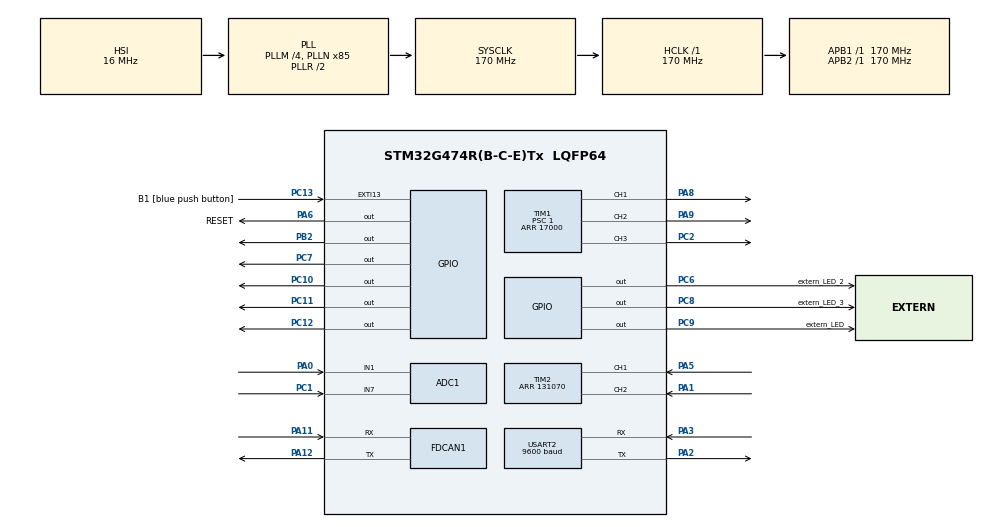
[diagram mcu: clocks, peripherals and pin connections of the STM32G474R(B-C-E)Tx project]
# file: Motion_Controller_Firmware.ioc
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ADC1.Channel-0\#ChannelRegularConversion=ADC_CHANNEL_1
ADC1.Channel-1\#ChannelRegularConversion=ADC_CHANNEL_7
ADC1.ClockPrescaler=ADC_CLOCK_ASYNC_DIV4
ADC1.ContinuousConvMode=DISABLE
ADC1.DMAContinuousRequests=DISABLE
ADC1.EOCSelection=ADC_EOC_SEQ_CONV
ADC1.ExternalTrigConv=ADC_EXTERNALTRIG_T1_CC1
ADC1.ExternalTrigConvEdge=ADC_EXTERNALTRIGCONVEDGE_FALLING
ADC1.NbrOfConversion=2
ADC1.NbrOfConversionFlag=1
ADC1.OffsetNumber-0\#ChannelRegularConversion=ADC_OFFSET_NONE
ADC1.OffsetNumber-1\#ChannelRegularConversion=ADC_OFFSET_NONE
ADC1.Rank-0\#ChannelRegularConversion=1
ADC1.Rank-1\#ChannelRegularConversion=2
ADC1.SamplingTime-0\#ChannelRegularConversion=ADC_SAMPLETIME_2CYCLES_5
ADC1.SamplingTime-1\#ChannelRegularConversion=ADC_SAMPLETIME_2CYCLES_5
ADC1.master=1
Dma.ADC1.2.Direction=DMA_PERIPH_TO_MEMORY
Dma.ADC1.2.EventEnable=DISABLE
Dma.ADC1.2.Instance=DMA1_Channel1
Dma.ADC1.2.MemDataAlignment=DMA_MDATAALIGN_HALFWORD
Dma.ADC1.2.MemInc=DMA_MINC_ENABLE
Dma.ADC1.2.Mode=DMA_CIRCULAR
Dma.ADC1.2.PeriphDataAlignment=DMA_PDATAALIGN_HALFWORD
Dma.ADC1.2.PeriphInc=DMA_PINC_DISABLE
Dma.ADC1.2.Polarity=HAL_DMAMUX_REQ_GEN_RISING
Dma.ADC1.2.Priority=DMA_PRIORITY_LOW
Dma.ADC1.2.RequestNumber=1
Dma.ADC1.2.SignalID=NONE
Dma.ADC1.2.SyncEnable=DISABLE
Dma.ADC1.2.SyncPolarity=HAL_DMAMUX_SYNC_NO_EVENT
Dma.ADC1.2.SyncRequestNumber=1
Dma.ADC1.2.SyncSignalID=NONE
Dma.Request0=USART2_RX
Dma.Request1=USART2_TX
Dma.Request2=ADC1
Dma.USART2_RX.0.Direction=DMA_PERIPH_TO_MEMORY
Dma.USART2_RX.0.EventEnable=DISABLE
Dma.USART2_RX.0.Instance=DMA1_Channel5
Dma.USART2_RX.0.MemDataAlignment=DMA_MDATAALIGN_BYTE
Dma.USART2_RX.0.MemInc=DMA_MINC_ENABLE
Dma.USART2_RX.0.Mode=DMA_NORMAL
Dma.USART2_RX.0.PeriphDataAlignment=DMA_PDATAALIGN_BYTE
Dma.USART2_RX.0.PeriphInc=DMA_PINC_DISABLE
Dma.USART2_RX.0.Polarity=HAL_DMAMUX_REQ_GEN_RISING
Dma.USART2_RX.0.Priority=DMA_PRIORITY_LOW
Dma.USART2_RX.0.RequestNumber=1
Dma.USART2_RX.0.SignalID=NONE
Dma.USART2_RX.0.SyncEnable=DISABLE
Dma.USART2_RX.0.SyncPolarity=HAL_DMAMUX_SYNC_NO_EVENT
Dma.USART2_RX.0.SyncRequestNumber=1
Dma.USART2_RX.0.SyncSignalID=NONE
Dma.USART2_TX.1.Direction=DMA_MEMORY_TO_PERIPH
Dma.USART2_TX.1.EventEnable=DISABLE
Dma.USART2_TX.1.Instance=DMA1_Channel2
Dma.USART2_TX.1.MemDataAlignment=DMA_MDATAALIGN_BYTE
Dma.USART2_TX.1.MemInc=DMA_MINC_ENABLE
Dma.USART2_TX.1.Mode=DMA_NORMAL
Dma.USART2_TX.1.PeriphDataAlignment=DMA_PDATAALIGN_BYTE
Dma.USART2_TX.1.PeriphInc=DMA_PINC_DISABLE
Dma.USART2_TX.1.Polarity=HAL_DMAMUX_REQ_GEN_RISING
Dma.USART2_TX.1.Priority=DMA_PRIORITY_LOW
Dma.USART2_TX.1.RequestNumber=1
Dma.USART2_TX.1.SignalID=NONE
Dma.USART2_TX.1.SyncEnable=DISABLE
Dma.USART2_TX.1.SyncPolarity=HAL_DMAMUX_SYNC_NO_EVENT
Dma.USART2_TX.1.SyncRequestNumber=1
Dma.USART2_TX.1.SyncSignalID=NONE
FDCAN1.AutoRetransmission=ENABLE
FDCAN1.CalculateBaudRateNominal=500000
FDCAN1.CalculateTimeBitNominal=2000
FDCAN1.CalculateTimeQuantumNominal=100.0
FDCAN1.DataPrescaler=17
FDCAN1.DataSyncJumpWidth=9
FDCAN1.DataTimeSeg1=10
FDCAN1.DataTimeSeg2=9
FDCAN1.FrameFormat=FDCAN_FRAME_FD_NO_BRS
FDCAN1.Mode=FDCAN_MODE_EXTERNAL_LOOPBACK
FDCAN1.NominalPrescaler=17
FDCAN1.NominalSyncJumpWidth=3
FDCAN1.NominalTimeSeg1=16
FDCAN1.NominalTimeSeg2=3
FREERTOS.Tasks01=highPrioTask,16,256,startHighPrioTask,Default,NULL,Dynamic,NULL,NULL;lowPrioTask,16,256,startLowPrioTask,Default,NULL,Dynamic,NULL,NULL;myCANTask,16,256,startMyCANTask,Default,NULL,Dynamic,NULL,NULL
FREERTOS.configGENERATE_RUN_TIME_STATS=1
FREERTOS.configMINIMAL_STACK_SIZE=128
FREERTOS.configTOTAL_HEAP_SIZE=10000
FREERTOS.configUSE_NEWLIB_REENTRANT=1
FREERTOS.configUSE_STATS_FORMATTING_FUNCTIONS=0
Mcu.Family=STM32G4
Mcu.Name=STM32G474R(B-C-E)Tx
Mcu.Package=LQFP64
NVIC.DMA1_Channel1_IRQn=true\:5\:0\:true\:false\:true\:true\:true\:true\:true
NVIC.DMA1_Channel2_IRQn=true\:5\:0\:true\:false\:true\:true\:true\:true\:true
NVIC.DMA1_Channel5_IRQn=true\:5\:0\:true\:false\:true\:true\:true\:true\:true
NVIC.EXTI15_10_IRQn=true\:5\:0\:true\:false\:true\:true\:true\:true\:true
NVIC.FDCAN1_IT0_IRQn=true\:5\:0\:true\:false\:true\:true\:true\:true\:true
NVIC.PriorityGroup=NVIC_PRIORITYGROUP_4
NVIC.TIM1_TRG_COM_TIM17_IRQn=true\:5\:0\:true\:false\:true\:true\:true\:true\:true
NVIC.TIM3_IRQn=true\:5\:0\:true\:false\:true\:true\:true\:true\:true
NVIC.TIM6_DAC_IRQn=true\:15\:0\:true\:false\:true\:false\:false\:true\:true
NVIC.TimeBase=TIM6_DAC_IRQn
NVIC.TimeBaseIP=TIM6
NVIC.USART2_IRQn=true\:6\:0\:true\:false\:true\:true\:true\:true\:true
PA0.Mode=IN1-Single-Ended
PA0.Signal=ADC1_IN1
PA1.GPIO_PuPd=GPIO_NOPULL
PA1.GPIO_Speed=GPIO_SPEED_FREQ_HIGH
PA1.Signal=S_TIM2_CH2
PA11.Mode=FDCAN_Activate
PA11.Signal=FDCAN1_RX
PA12.GPIO_PuPd=GPIO_NOPULL
PA12.GPIO_Speed=GPIO_SPEED_FREQ_LOW
PA12.Mode=FDCAN_Activate
PA12.Signal=FDCAN1_TX
PA2.GPIO_PuPd=GPIO_NOPULL
PA2.Mode=Asynchronous
PA2.Signal=USART2_TX
PA3.GPIO_PuPd=GPIO_NOPULL
PA3.Mode=Asynchronous
PA3.Signal=USART2_RX
PA5.GPIO_PuPd=GPIO_NOPULL
PA5.GPIO_Speed=GPIO_SPEED_FREQ_HIGH
PA5.Signal=S_TIM2_CH1
PA6.GPIO_Label=RESET
PA6.Signal=GPIO_Output
PA8.GPIO_Speed=GPIO_SPEED_FREQ_LOW
PA8.Signal=S_TIM1_CH1
PA9.GPIO_Speed=GPIO_SPEED_FREQ_LOW
PA9.Signal=S_TIM1_CH2
PB2.Signal=GPIO_Output
PC1.Mode=IN7-Single-Ended
PC1.Signal=ADC1_IN7
PC10.Signal=GPIO_Output
PC11.Signal=GPIO_Output
PC12.Signal=GPIO_Output
PC13.GPIO_Label=B1 [blue push button]
PC13.Signal=GPXTI13
PC14-OSC32_IN.Mode=LSE-External-Oscillator
PC14-OSC32_IN.Signal=RCC_OSC32_IN
PC15-OSC32_OUT.Mode=LSE-External-Oscillator
PC15-OSC32_OUT.Signal=RCC_OSC32_OUT
PC2.Signal=S_TIM1_CH3
PC6.GPIO_Label=extern_LED_2
PC6.GPIO_Speed=GPIO_SPEED_FREQ_VERY_HIGH
PC6.Signal=GPIO_Output
PC7.Signal=GPIO_Output
PC8.GPIO_Label=extern_LED_3
PC8.GPIO_Speed=GPIO_SPEED_FREQ_VERY_HIGH
PC8.Signal=GPIO_Output
PC9.GPIO_Label=extern_LED
PC9.GPIO_Speed=GPIO_SPEED_FREQ_VERY_HIGH
PC9.Signal=GPIO_Output
PF0-OSC_IN.Mode=HSE-External-Oscillator
PF0-OSC_IN.Signal=RCC_OSC_IN
PF1-OSC_OUT.Mode=HSE-External-Oscillator
PF1-OSC_OUT.Signal=RCC_OSC_OUT
ProjectManager.HeapSize=0x200
ProjectManager.StackSize=0x400
ProjectManager.TargetToolchain=STM32CubeIDE
RCC.ADC12Freq_Value=170000000
RCC.ADC345Freq_Value=170000000
RCC.AHBFreq_Value=170000000
RCC.APB1Freq_Value=170000000
RCC.APB1TimFreq_Value=170000000
RCC.APB2Freq_Value=170000000
RCC.APB2TimFreq_Value=170000000
RCC.CortexFreq_Value=170000000
RCC.EXTERNAL_CLOCK_VALUE=12288000
RCC.HCLKFreq_Value=170000000
RCC.HSE_VALUE=24000000
RCC.HSI48_VALUE=48000000
RCC.HSI_VALUE=16000000
RCC.PLLM=RCC_PLLM_DIV4
RCC.PLLN=85
RCC.PLLQ=RCC_PLLQ_DIV4
RCC.RTCClockSelection=RCC_RTCCLKSOURCE_LSE
RCC.SYSCLKFreq_VALUE=170000000
RCC.SYSCLKSource=RCC_SYSCLKSOURCE_PLLCLK
RCC.USBFreq_Value=85000000
RCC.VCOOutputFreq_Value=340000000
SH.S_TIM1_CH1.0=TIM1_CH1,PWM Generation1 CH1
SH.S_TIM1_CH2.0=TIM1_CH2,PWM Generation2 CH2
SH.S_TIM1_CH3.0=TIM1_CH3,PWM Generation3 CH3
SH.S_TIM2_CH1.0=TIM2_CH1,Encoder_Interface
SH.S_TIM2_CH2.0=TIM2_CH2,Encoder_Interface
TIM1.AutoReloadPreload=TIM_AUTORELOAD_PRELOAD_DISABLE
TIM1.Channel-PWM\ Generation1\ CH1=TIM_CHANNEL_1
TIM1.Channel-PWM\ Generation2\ CH2=TIM_CHANNEL_2
TIM1.Channel-PWM\ Generation3\ CH3=TIM_CHANNEL_3
TIM1.CounterMode=TIM_COUNTERMODE_DOWN
TIM1.OCIdleState_1=TIM_OCIDLESTATE_RESET
TIM1.OCIdleState_2=TIM_OCIDLESTATE_RESET
TIM1.OCIdleState_3=TIM_OCIDLESTATE_RESET
TIM1.OCPolarity_1=TIM_OCPOLARITY_HIGH
TIM1.OCPolarity_2=TIM_OCPOLARITY_HIGH
TIM1.OCPolarity_3=TIM_OCPOLARITY_HIGH
TIM1.PeriodNoDither=17000
TIM1.Prescaler=1
TIM1.PulseNoDither_1=0
TIM1.PulseNoDither_2=0
TIM1.PulseNoDither_3=0
TIM1.RepetitionCounter=0
TIM1.TIM_MasterOutputTrigger=TIM_TRGO_UPDATE
TIM1.TIM_MasterSlaveMode=TIM_MASTERSLAVEMODE_DISABLE
TIM17.AutoReloadPreload=TIM_AUTORELOAD_PRELOAD_ENABLE
TIM17.PeriodNoDither=1000
TIM17.Prescaler=170
TIM2.AutoReloadPreload=TIM_AUTORELOAD_PRELOAD_DISABLE
TIM2.EncoderMode=TIM_ENCODERMODE_TI2
TIM2.IC1Filter=10
TIM2.IC1Polarity=TIM_ICPOLARITY_FALLING
TIM2.IC2Filter=10
TIM2.IC2Polarity=TIM_ICPOLARITY_FALLING
TIM2.PeriodNoDither=131070
TIM3.PeriodNoDither=17000
USART2.BaudRate=9600
USART2.OverrunDisableParam=ADVFEATURE_OVERRUN_DISABLE
USART2.VirtualMode-Asynchronous=VM_ASYNC
VP_FREERTOS_VS_CMSIS_V2.Mode=CMSIS_V2
VP_SYS_VS_DBSignals.Mode=DisableDeadBatterySignals
VP_SYS_VS_tim6.Mode=TIM6
VP_TIM17_VS_ClockSourceINT.Mode=Enable_Timer
VP_TIM3_VS_ClockSourceINT.Mode=Internal
board=NUCLEO-G474RE

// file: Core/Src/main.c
/* USER CODE BEGIN Header */
/**
  ******************************************************************************
  * @file           : main.c
  * @brief          : Main program body
  ******************************************************************************
  * @attention
  *
  *
  * Copyright (c) 2023 STMicroelectronics.
  * All rights reserved.
  *
  * This software is licensed under terms that can be found in the LICENSE file
  * in the root directory of this software component.
  * If no LICENSE file comes with this software, it is provided AS-IS.
  *
  ******************************************************************************
  */
/* USER CODE END Header */
#include "main.h"
#include "cmsis_os.h"
#include "adc.h"
#include "dma.h"
#include "fdcan.h"
#include "tim.h"
#include "usart.h"
#include "gpio.h"

/* USER CODE BEGIN Includes */
#include "CPlusPlus/Process.hpp"
/* USER CODE END Includes */

/* USER CODE BEGIN PV */

enum rec_type
{
  _double__,
  _int__
};

typedef struct
{
	uint32_t num_rec_table;
	uint32_t num_rec_points;
	uint32_t rec_table_rate;

} REC_VALUES;

unsigned long servo_cnt = 0;

TIM_OC_InitTypeDef sEmulConfigOC;
/* USER CODE END PV */

void SystemClock_Config(void);
void MX_FREERTOS_Init(void);

/* USER CODE BEGIN 0 */
bool runvar = true;
bool dma_ready = false;

/* USER CODE END 0 */

int main(void)
{
  /* USER CODE BEGIN 1 */
	sEmulConfigOC.OCMode = TIM_OCMODE_PWM1;
	sEmulConfigOC.OCPolarity = TIM_OCPOLARITY_LOW;
	sEmulConfigOC.OCFastMode = TIM_OCFAST_DISABLE;
  /* USER CODE END 1 */

  /* MCU Configuration--------------------------------------------------------*/

  /* Reset of all peripherals, Initializes the Flash interface and the Systick. */
  HAL_Init();

  /* USER CODE BEGIN Init */
	MotorInit();	//TODO move to own init functn?!
  /* USER CODE END Init */

  /* Configure the system clock */
  SystemClock_Config();

  /* Initialize all configured peripherals */
  MX_GPIO_Init();
  MX_DMA_Init();
  MX_USART2_UART_Init();
  MX_TIM17_Init();
  MX_FDCAN1_Init();
  MX_ADC1_Init();
  MX_TIM1_Init();
  MX_TIM2_Init();
  MX_TIM3_Init();
  /* USER CODE BEGIN 2 */

	//HAL_TIM_PWM_Start(&htim1, TIM_CHANNEL_1);
	//HAL_TIM_PWM_Start(&htim1, TIM_CHANNEL_2);
	//HAL_TIM_PWM_Start(&htim1, TIM_CHANNEL_3);
    HAL_TIM_Encoder_Start(&htim2, TIM_CHANNEL_ALL);

	__HAL_TIM_ENABLE_IT(&htim1, TIM_IT_UPDATE);
	__HAL_TIM_ENABLE_IT(&htim3, TIM_IT_UPDATE);

	sEmulConfigOC.Pulse = 0;
	if(HAL_TIM_OC_ConfigChannel(&htim1, &sEmulConfigOC, TIM_CHANNEL_1) != HAL_OK)
	{
	   // Configuration Error
		Error_Handler();
	}
	sEmulConfigOC.Pulse = 0;
	if(HAL_TIM_OC_ConfigChannel(&htim1, &sEmulConfigOC, TIM_CHANNEL_2) != HAL_OK)
	{
	   // Configuration Error
		Error_Handler();
	}
	sEmulConfigOC.Pulse = 0;
	if(HAL_TIM_OC_ConfigChannel(&htim1, &sEmulConfigOC, TIM_CHANNEL_3) != HAL_OK)
	{
	  // Configuration Error
		Error_Handler();
	}

	 //## -2- Start signals generation #########################################
	if(HAL_TIM_OC_Start(&htim1, TIM_CHANNEL_1) != HAL_OK)
	{
	 // Starting Error
		Error_Handler();
	}
	if(HAL_TIM_OC_Start(&htim1, TIM_CHANNEL_2) != HAL_OK)
	{
	 // Starting Error
		Error_Handler();
	}
	if(HAL_TIM_OC_Start(&htim1, TIM_CHANNEL_3) != HAL_OK)
	{
	 // Starting Error
		Error_Handler();
	}
	 //HAL_TIM_OC_Start(&htim3, TIM_CHANNEL_1);
	HAL_GPIO_WritePin(GPIOC, GPIO_PIN_10, GPIO_PIN_RESET);
	HAL_GPIO_WritePin(GPIOC, GPIO_PIN_11, GPIO_PIN_RESET);
	HAL_GPIO_WritePin(GPIOC, GPIO_PIN_12, GPIO_PIN_RESET);
	HAL_GPIO_WritePin(GPIOB, GPIO_PIN_2, GPIO_PIN_RESET);	// LED Servo INT
	HAL_GPIO_WritePin(GPIOA, GPIO_PIN_6, GPIO_PIN_RESET);	//DIAG EN
	HAL_Delay(500);
	HAL_GPIO_WritePin(GPIOA, GPIO_PIN_6, GPIO_PIN_SET);	//Enable CHIP

	HAL_Delay(500);
	HAL_GPIO_WritePin(GPIOC, GPIO_PIN_10, GPIO_PIN_SET); // Enable PWM1
	HAL_GPIO_WritePin(GPIOC, GPIO_PIN_11, GPIO_PIN_SET); // Enable PWM2
	HAL_GPIO_WritePin(GPIOC, GPIO_PIN_12, GPIO_PIN_SET); // Enable PWM2
	HAL_TIM_Base_Start_IT(&htim3);
	__HAL_TIM_SetCounter(&htim2,65535);	//needed for encoder offset
  /* USER CODE END 2 */

  /* Init scheduler */
  osKernelInitialize();

  /* Call init function for freertos objects (in freertos.c) */
  MX_FREERTOS_Init();

  /* Start scheduler */
  osKernelStart();

  /* We should never get here as control is now taken by the scheduler */
  /* Infinite loop */
  while (1)
  {

  }
}

void SystemClock_Config(void)
{
  RCC_OscInitTypeDef RCC_OscInitStruct = {0};
  RCC_ClkInitTypeDef RCC_ClkInitStruct = {0};

  /** Configure the main internal regulator output voltage
  */
  HAL_PWREx_ControlVoltageScaling(PWR_REGULATOR_VOLTAGE_SCALE1_BOOST);

  /** Initializes the RCC Oscillators according to the specified parameters
  * in the RCC_OscInitTypeDef structure.
  */
  RCC_OscInitStruct.OscillatorType = RCC_OSCILLATORTYPE_HSI;
  RCC_OscInitStruct.HSIState = RCC_HSI_ON;
  RCC_OscInitStruct.HSICalibrationValue = RCC_HSICALIBRATION_DEFAULT;
  RCC_OscInitStruct.PLL.PLLState = RCC_PLL_ON;
  RCC_OscInitStruct.PLL.PLLSource = RCC_PLLSOURCE_HSI;
  RCC_OscInitStruct.PLL.PLLM = RCC_PLLM_DIV4;
  RCC_OscInitStruct.PLL.PLLN = 85;
  RCC_OscInitStruct.PLL.PLLP = RCC_PLLP_DIV2;
  RCC_OscInitStruct.PLL.PLLQ = RCC_PLLQ_DIV4;
  RCC_OscInitStruct.PLL.PLLR = RCC_PLLR_DIV2;
  if (HAL_RCC_OscConfig(&RCC_OscInitStruct) != HAL_OK)
  {
    Error_Handler();
  }

  /** Initializes the CPU, AHB and APB buses clocks
  */
  RCC_ClkInitStruct.ClockType = RCC_CLOCKTYPE_HCLK|RCC_CLOCKTYPE_SYSCLK
                              |RCC_CLOCKTYPE_PCLK1|RCC_CLOCKTYPE_PCLK2;
  RCC_ClkInitStruct.SYSCLKSource = RCC_SYSCLKSOURCE_PLLCLK;
  RCC_ClkInitStruct.AHBCLKDivider = RCC_SYSCLK_DIV1;
  RCC_ClkInitStruct.APB1CLKDivider = RCC_HCLK_DIV1;
  RCC_ClkInitStruct.APB2CLKDivider = RCC_HCLK_DIV1;

  if (HAL_RCC_ClockConfig(&RCC_ClkInitStruct, FLASH_LATENCY_4) != HAL_OK)
  {
    Error_Handler();
  }
}

void HAL_TIM_PeriodElapsedCallback(TIM_HandleTypeDef *htim)
{
  /* USER CODE BEGIN Callback 0 */
	if (htim->Instance == TIM3)
	{
		static int counter = 5;	// startup: no need for current reg 5 times

		Stromregelung();
		counter++;
		if(counter>=5)
		{
			handlePositionInfo();	//read tim position of motor etc.
			Positionsregelung();
			counter=0;
		}
	}
  /* USER CODE END Callback 0 */
  if (htim->Instance == TIM6) {
    HAL_IncTick();
  }
  /* USER CODE BEGIN Callback 1 */
  if (htim == canopenNodeSTM32->timerHandle)
  {
	  canopen_app_interrupt();
  }
  /* USER CODE END Callback 1 */
}

void Error_Handler(void)
{
  __disable_irq();
  while (1)
  {
  }
}

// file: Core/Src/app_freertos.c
/* USER CODE BEGIN Header */
/**
  ******************************************************************************
  * File Name          : app_freertos.c
  * Description        : Code for freertos applications
  ******************************************************************************
  * @attention
  *
  * Copyright (c) 2023 STMicroelectronics.
  * All rights reserved.
  *
  * This software is licensed under terms that can be found in the LICENSE file
  * in the root directory of this software component.
  * If no LICENSE file comes with this software, it is provided AS-IS.
  *
  ******************************************************************************
  */
/* USER CODE END Header */

#include "FreeRTOS.h"
#include "task.h"
#include "main.h"
#include "cmsis_os.h"

/* USER CODE BEGIN Includes */
#include "CPlusPlus/Process.hpp"
/* USER CODE END Includes */

/* Definitions for highPrioTask */
osThreadId_t highPrioTaskHandle;
const osThreadAttr_t highPrioTask_attributes = {
  .name = "highPrioTask",
  .priority = (osPriority_t) osPriorityBelowNormal,
  .stack_size = 256 * 4
};
/* Definitions for lowPrioTask */
osThreadId_t lowPrioTaskHandle;
const osThreadAttr_t lowPrioTask_attributes = {
  .name = "lowPrioTask",
  .priority = (osPriority_t) osPriorityBelowNormal,
  .stack_size = 256 * 4
};
/* Definitions for myCANTask */
osThreadId_t myCANTaskHandle;
const osThreadAttr_t myCANTask_attributes = {
  .name = "myCANTask",
  .priority = (osPriority_t) osPriorityBelowNormal,
  .stack_size = 256 * 4
};

void startHighPrioTask(void *argument);
void startLowPrioTask(void *argument);
void startMyCANTask(void *argument);

void MX_FREERTOS_Init(void); /* (MISRA C 2004 rule 8.1) */

/* Hook prototypes */
void configureTimerForRunTimeStats(void);
unsigned long getRunTimeCounterValue(void);

/* USER CODE BEGIN 1 */
/* Functions needed when configGENERATE_RUN_TIME_STATS is on */
__weak void configureTimerForRunTimeStats(void)
{

}

__weak unsigned long getRunTimeCounterValue(void)
{
return 0;
}
/* USER CODE END 1 */

void MX_FREERTOS_Init(void) {

  /* Create the thread(s) */
  /* creation of highPrioTask */
  highPrioTaskHandle = osThreadNew(startHighPrioTask, NULL, &highPrioTask_attributes);

  /* creation of lowPrioTask */
  lowPrioTaskHandle = osThreadNew(startLowPrioTask, NULL, &lowPrioTask_attributes);

  /* creation of myCANTask */
  myCANTaskHandle = osThreadNew(startMyCANTask, NULL, &myCANTask_attributes);

}

void startHighPrioTask(void *argument)
{
  /* USER CODE BEGIN startHighPrioTask */
  /* Infinite loop */
  for(;;)
  {
	doMyCppProcessHigh();
    osDelay(1);
  }
  /* USER CODE END startHighPrioTask */
}

void startLowPrioTask(void *argument)
{
  /* USER CODE BEGIN startLowPrioTask */
  /* Infinite loop */
  for(;;)
  {
	doMyCMDInterpreterTask();
    osDelay(1);
  }
  /* USER CODE END startLowPrioTask */
}

void startMyCANTask(void *argument)
{
  /* USER CODE BEGIN startMyCANTask */
  /* Infinite loop */
  for(;;)
  {
	doMyCanTask();
    osDelay(1);
  }
  /* USER CODE END startMyCANTask */
}
